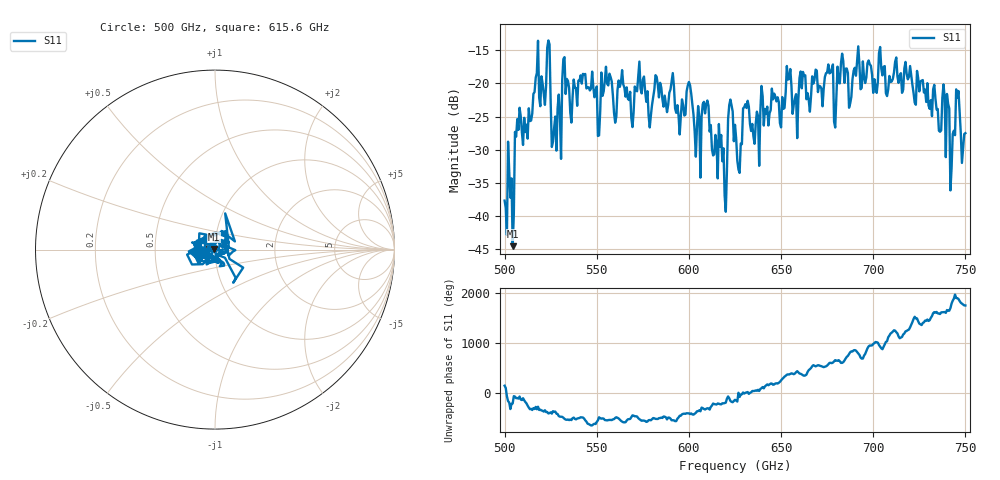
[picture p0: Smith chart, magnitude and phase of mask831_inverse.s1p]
!Created with skrf (http://scikit-rf.org).
# GHz S MA R 50.0
!freq magS11 angS11
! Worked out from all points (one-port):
!   401 points, 500 GHz to 750 GHz, reference 50 ohm
!   lowest |S11| = -44.5 dB at 504.4 GHz (marker M1), VSWR 1.01, Z = 49.5 + j0.377 ohm
!   |S11| at or under -10 dB: start of sweep to end of sweep
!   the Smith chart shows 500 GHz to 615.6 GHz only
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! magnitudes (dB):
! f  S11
! 500 GHz  -37.7
! 504.4 GHz  -44.5
! 506.9 GHz  -25.4
! 513.8 GHz  -25.7
! 516.9 GHz  -19.2
! 523.8 GHz  -13.5
! 526.9 GHz  -26.7
! 531.2 GHz  -19.5
! 562.5 GHz  -20.5
! 579.4 GHz  -24.8
! 590.6 GHz  -19.7
! 593.8 GHz  -23.3
! 600 GHz  -19.8
! 605 GHz  -23.4
! 609.4 GHz  -23.2
! 619.4 GHz  -36.9
! 622.5 GHz  -22.4
! 625 GHz  -26.2
! 656.2 GHz  -24.6
! 680 GHz  -22.1
! 683.8 GHz  -16.7
! 687.5 GHz  -23.0
! 691.2 GHz  -16.6
! 718.8 GHz  -19.4
! 739.4 GHz  -31.1
! 743.1 GHz  -27.6
! 745.6 GHz  -22.1
! 750 GHz  -27.5
